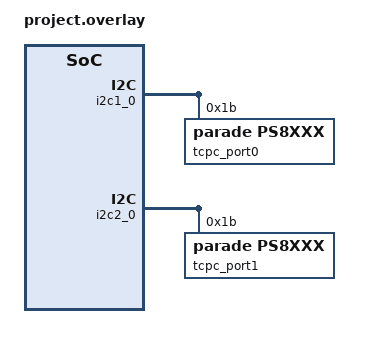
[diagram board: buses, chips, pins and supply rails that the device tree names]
/* Copyright 2022 The ChromiumOS Authors
 * Use of this source code is governed by a BSD-style license that can be
 * found in the LICENSE file.
 */

/* Herobrine program common DTS includes */
#include "../adc.dtsi"
#include "../common.dtsi"
#include "../i2c.dtsi"
#include "../interrupts.dtsi"
#include "../keyboard.dtsi"
#include "../default_gpio_pinctrl.dtsi"
#include "../usbc.dtsi"
#include "../switchcap.dtsi"

/* Hoglin project DTS includes*/
#include "gpio.dtsi"
#include "led_pins.dtsi"
#include "led_policy.dtsi"
#include "motionsense.dtsi"

/* hoglin overrides follow... */
/* battery overrides */
/ {
	batteries {
		default_battery: 7c01 {
			compatible = "ganfeng,7c01", "battery-smart";
		};
	};

};

/* switchcap overrides */
&{/switchcap} {
	/delete-property/ power-good-pin;
	poff-delay-ms = <550>;
};

/* i2c overrides */
&i2c1_0 {
	/delete-node/ ps8xxx@b;
	tcpc_port0: ps8xxx@1b {
		compatible = "parade,ps8xxx";
		reg = <0x1b>;
	};
};

&i2c2_0 {
	/delete-node/ ps8xxx@b;
	tcpc_port1: ps8xxx@1b {
		compatible = "parade,ps8xxx";
		reg = <0x1b>;
	};
};
